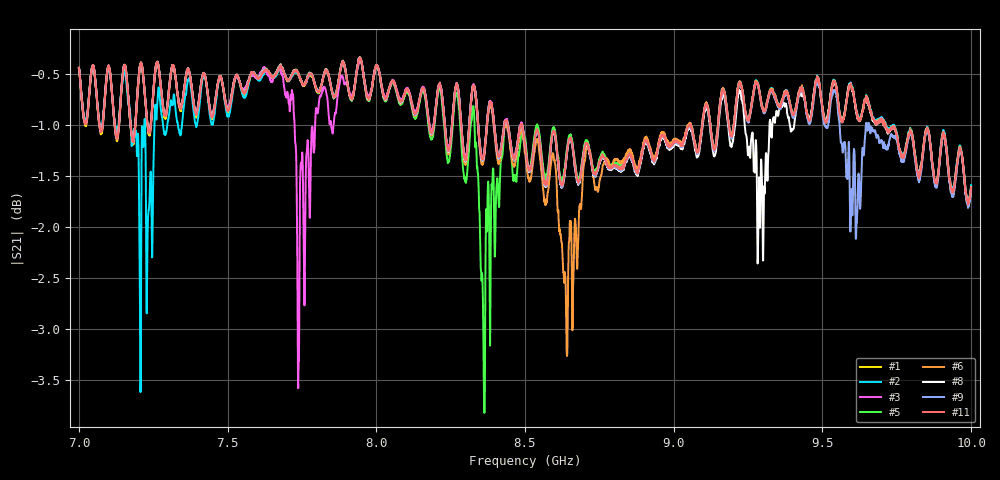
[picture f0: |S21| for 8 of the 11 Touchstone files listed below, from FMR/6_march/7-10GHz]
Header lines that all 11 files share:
#  HZ  S  RI  R  50.0
! Rohde & Schwarz ZVL13 2Ports - Version 3.31 - 1303.6509k13 SN: 101088
! Data & Calibration Information:
! Trc4:S11(TOSM) Trc2:S21(TOSM) Trc3:S12(TOSM) Trc5:S22(TOSM)
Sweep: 7 GHz to 10 GHz
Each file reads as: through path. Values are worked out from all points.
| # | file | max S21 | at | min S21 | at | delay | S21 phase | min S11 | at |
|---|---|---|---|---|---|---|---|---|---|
| 1 | YIG_7-10GHz_0mT.s2p | -0.34 dB | 7.944 GHz | -1.8 dB | 9.989 GHz | 357 ps | 21 deg at 8.5 GHz | -31.6 dB | 7.587 GHz |
| 2 | YIG_7-10GHz_182mT.s2p | -0.34 dB | 7.944 GHz | -3.6 dB | 7.207 GHz | 357 ps | 20 deg at 8.5 GHz | -31.1 dB | 7.651 GHz |
| 3 | YIG_7-10GHz_200mT.s2p | -0.36 dB | 7.945 GHz | -3.6 dB | 7.737 GHz | 357 ps | 20 deg at 8.5 GHz | -31.3 dB | 7.527 GHz |
| 4 | YIG_7-10GHz_210mT.s2p | -0.35 dB | 7.944 GHz | -3.7 dB | 8.045 GHz | 357 ps | 20 deg at 8.5 GHz | -31.2 dB | 7.527 GHz |
| 5 | YIG_7-10GHz_221mT.s2p | -0.33 dB | 7.945 GHz | -3.8 dB | 8.363 GHz | 357 ps | 22 deg at 8.5 GHz | -31.3 dB | 7.587 GHz |
| 6 | YIG_7-10GHz_231mT.s2p | -0.33 dB | 7.944 GHz | -3.3 dB | 8.641 GHz | 357 ps | 18 deg at 8.5 GHz | -31.4 dB | 7.587 GHz |
| 7 | YIG_7-10GHz_243mT.s2p | -0.33 dB | 7.945 GHz | -3.3 dB | 8.995 GHz | 356 ps | 19 deg at 8.5 GHz | -31.5 dB | 7.587 GHz |
| 8 | YIG_7-10GHz_253mT.s2p | -0.33 dB | 7.945 GHz | -2.4 dB | 9.282 GHz | 357 ps | 19 deg at 8.5 GHz | -39.9 dB | 9.303 GHz |
| 9 | YIG_7-10GHz_263mT.s2p | -0.33 dB | 7.944 GHz | -2.1 dB | 9.612 GHz | 357 ps | 20 deg at 8.5 GHz | -35.0 dB | 9.589 GHz |
| 10 | YIG_7-10GHz_270mT.s2p | -0.34 dB | 7.944 GHz | -3.1 dB | 9.791 GHz | 357 ps | 20 deg at 8.5 GHz | -31.7 dB | 7.587 GHz |
| 11 | YIG_7-10GHz_400mT.s2p | -0.33 dB | 7.945 GHz | -1.8 dB | 9.989 GHz | 357 ps | 20 deg at 8.5 GHz | -31.7 dB | 7.587 GHz |
